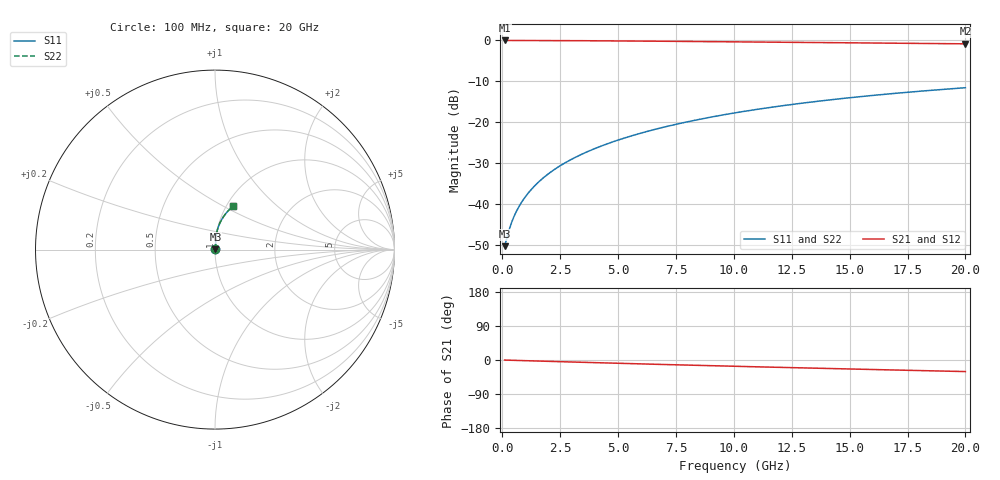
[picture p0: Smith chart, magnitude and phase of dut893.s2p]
! Touchstone file exported from HFSS 2024.1.0
!  File:  C:/UserFiles/LocalFiles/RDL_TSV_Batchsim/temp_RDL_bottom_893_1779865998.aedt
!  Generated:  03:15:57 PM May 27, 2026
!  Design:  RDL_bottom
!  Project:  temp_RDL_bottom_893_1779865998
!  Setup:  Setup1
!  Solution:  Sweep
! Variables:
!  dtsv = 10.80580581um
!  hbump = 3um
!  htsv = 94.61um
!  ldown = 448.96um
!  lrdl = 100um
!  p = 40
!  p1 = 41.48um
!  rhole = 1um
!  t = 450um
!  tdown = 2.84um
!  trdl = 3.915915916um
!  wdown = 22.41um
!  wrdl = 20um
# GHz S MA R 50.000000
! Terminal data exported
! Port[1] = RDL1_T1
! Port[2] = RDL1_T2
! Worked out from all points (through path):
!   200 points, 100 MHz to 20 GHz, reference 50 ohm
!   highest |S21| = -0.02 dB at 100 MHz (marker M1); lowest = -0.8 dB at 20 GHz (marker M2)
!   group delay of S21, straight-line fit = 4.21 ps
!   lowest |S11| = -50.2 dB at 100 MHz (marker M3), VSWR 1.01, Z = 50.3 + j0.136 ohm
!   |S11| at or under -10 dB: start of sweep to end of sweep
!   |S22| runs from -50.2 to -11.6 dB; largest |S21 - S12| = 3.3e-15
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0.1  0.003074 26.1  0.9972 -0.2  0.9972 -0.2  0.003074 26.1
! Gamma 0 0 0 0
! Port Impedance 50 0 50 0
0.3  0.004919 52.3  0.9969 -0.6  0.9969 -0.6  0.004919 52.3
0.4  0.005966 58.2  0.9968 -0.7  0.9968 -0.7  0.005966 58.2
0.5  0.007019 62.4  0.9966 -0.9  0.9966 -0.9  0.007019 62.4
0.6  0.008074 65.6  0.9964 -1.1  0.9964 -1.1  0.008074 65.6
0.8  0.0102 70.2  0.9962 -1.5  0.9962 -1.5  0.0102 70.2
1  0.01236 73.5  0.9959 -1.8  0.9959 -1.8  0.01236 73.5
1.2  0.01455 75.9  0.9956 -2.2  0.9956 -2.2  0.01455 75.9
1.7  0.02017 79.8  0.9947 -3.0  0.9947 -3.0  0.02017 79.8
2.2  0.02594 82.1  0.9937 -3.9  0.9937 -3.9  0.02594 82.1
2.8  0.03304 83.7  0.9921 -5.0  0.9921 -5.0  0.03304 83.7
3.5  0.04156 84.8  0.99 -6.2  0.99 -6.2  0.04156 84.8
4.2  0.05032 85.4  0.9874 -7.3  0.9874 -7.3  0.05032 85.4
5  0.06063 85.6  0.9842 -8.7  0.9842 -8.7  0.06063 85.6
5.9  0.07256 85.4  0.9802 -10.2  0.9802 -10.2  0.07256 85.4
6.8  0.08478 84.9  0.9759 -11.6  0.9759 -11.6  0.08478 84.9
8.4  0.107 83.5  0.9679 -14.1  0.9679 -14.1  0.107 83.5
10.1  0.1311 81.4  0.9591 -16.7  0.9591 -16.7  0.1311 81.4
11.7  0.1537 79.3  0.9507 -19.0  0.9507 -19.0  0.1537 79.3
13.4  0.1774 76.8  0.9418 -21.5  0.9418 -21.5  0.1774 76.8
16.7  0.2221 71.9  0.9245 -26.1  0.9245 -26.1  0.222 71.9
20  0.264 67.1  0.9073 -30.5  0.9073 -30.5  0.264 67.1
